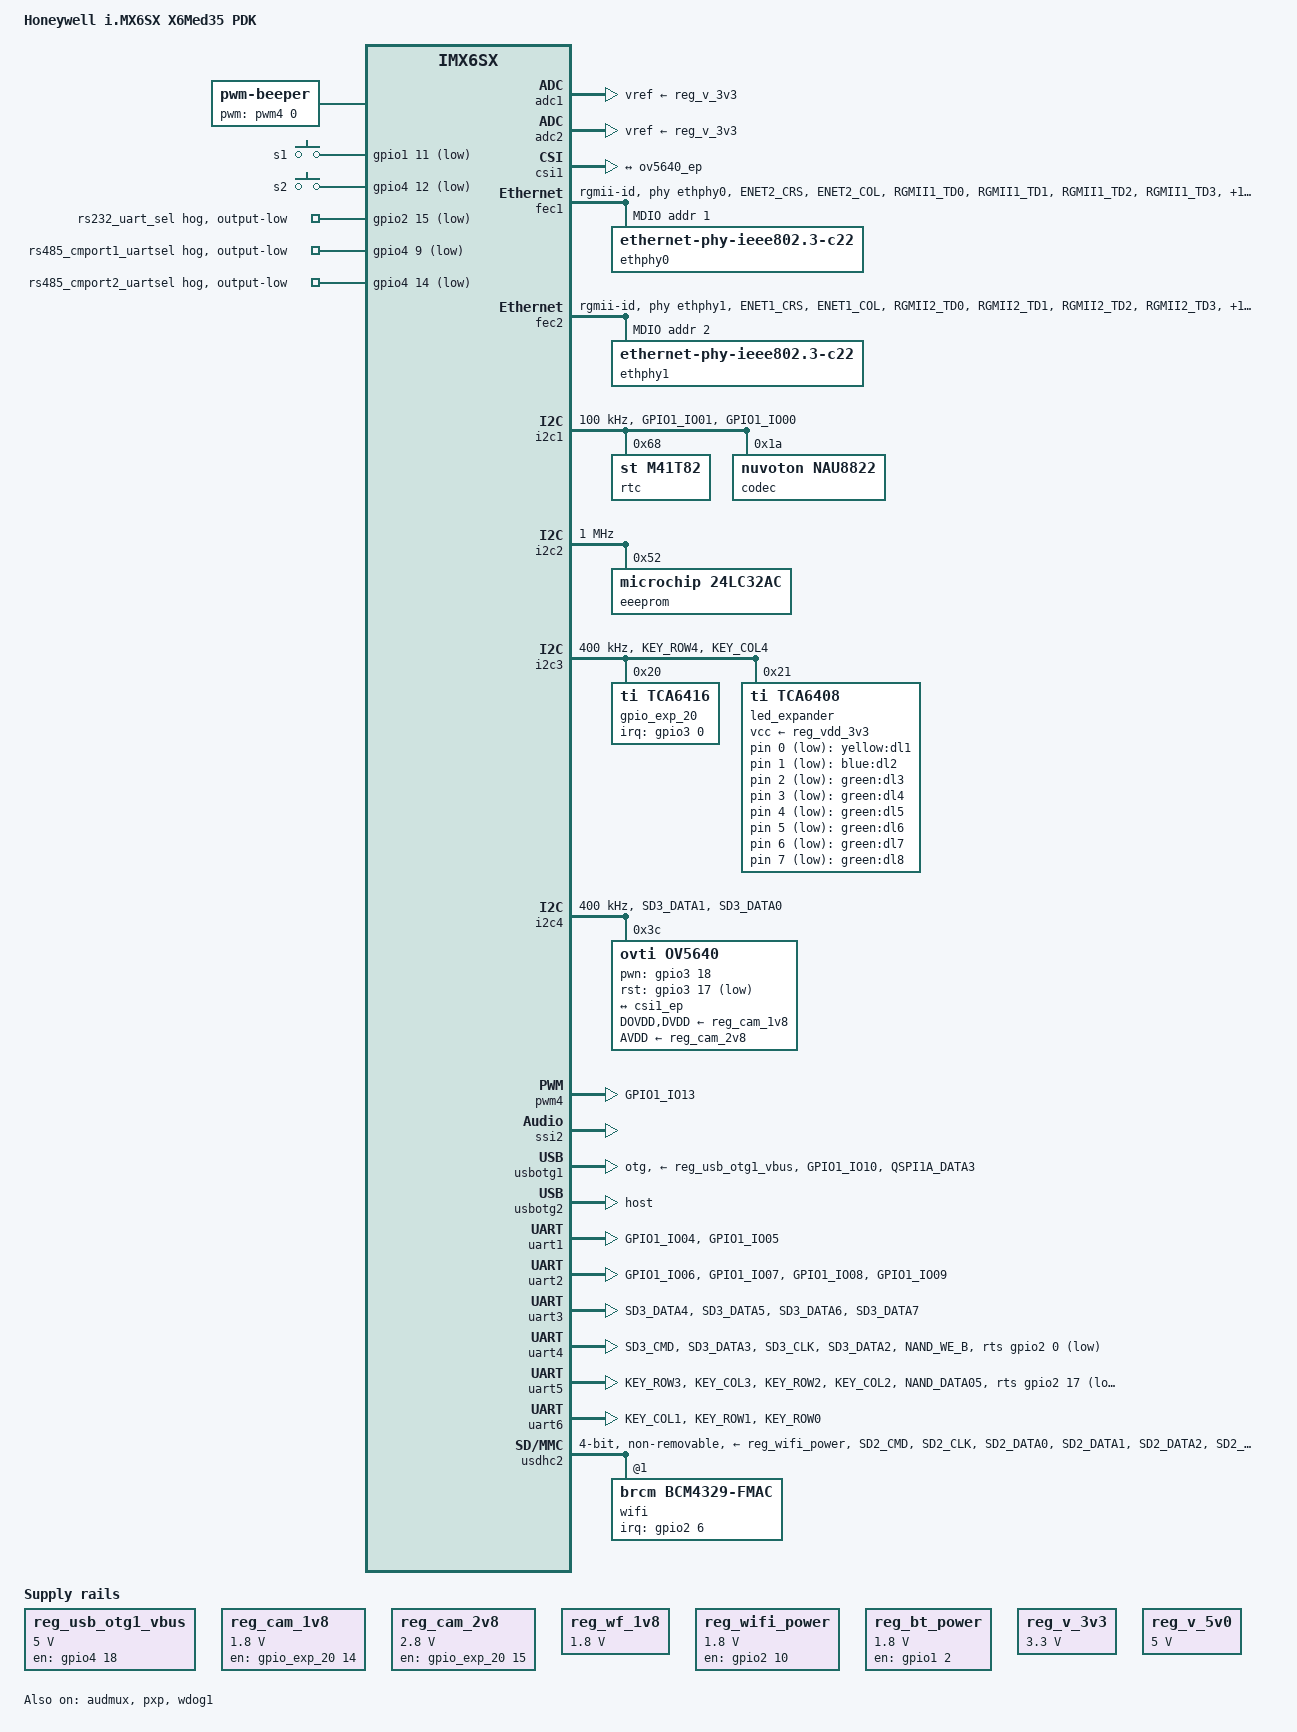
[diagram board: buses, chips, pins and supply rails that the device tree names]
// SPDX-License-Identifier: (GPL-2.0 OR MIT)
/*
 * Copyright (C) 2021 Shrirang Bagul <shrirang.bagul@canonical.com>
 */

#include <dt-bindings/gpio/gpio.h>
#include <dt-bindings/leds/common.h>
#include <dt-bindings/input/linux-event-codes.h>
#include <dt-bindings/sound/fsl-imx-audmux.h>
#include "imx6sx-x6med35-som.dtsi"

/ {
	model = "Honeywell i.MX6SX X6Med35 PDK";
	compatible = "Honeywell,x6med35-pdk", "fsl,imx6sx";

	aliases {
		rtc0 = &rtc;
		rtc1 = &snvs_rtc;
		watchdog0 = &rtc;
		watchdog1 = &wdog1;
	};

	beeper {
		compatible = "pwm-beeper";
		pwms = <&pwm4 0 1000000 0>;
	};

	chosen {
		stdout-path = &uart1;
	};

	gpio-keys {
		compatible = "gpio-keys";
		pinctrl-names = "default";
		pinctrl-0 = <&pinctrl_gpiokeys>;

		s1 {
			label = "s1";
			gpios = <&gpio1 11 GPIO_ACTIVE_LOW>;
			linux,code = <KEY_ESC>;
			wakeup-source;
		};

		s2 {
			label = "s2";
			gpios = <&gpio4 12 GPIO_ACTIVE_LOW>;
			linux,code = <KEY_SPACE>;
			wakeup-source;
		};
	};

	leds {
		compatible = "gpio-leds";

		dl1 {
			label = "yellow:dl1";
			gpios = <&led_expander 0 GPIO_ACTIVE_LOW>;
		};

		dl2 {
			label = "blue:dl2";
			gpios = <&led_expander 1 GPIO_ACTIVE_LOW>;
		};

		dl3 {
			label = "green:dl3";
			gpios = <&led_expander 2 GPIO_ACTIVE_LOW>;
		};

		dl4 {
			label = "green:dl4";
			gpios = <&led_expander 3 GPIO_ACTIVE_LOW>;
		};

		dl5 {
			label = "green:dl5";
			gpios = <&led_expander 4 GPIO_ACTIVE_LOW>;
		};

		dl6 {
			label = "green:dl6";
			gpios = <&led_expander 5 GPIO_ACTIVE_LOW>;
		};

		dl7 {
			label = "green:dl7";
			gpios = <&led_expander 6 GPIO_ACTIVE_LOW>;
		};

		dl8 {
			label = "green:dl8";
			gpios = <&led_expander 7 GPIO_ACTIVE_LOW>;
		};
	};

	reg_usb_otg1_vbus: regulator-usb-otg1-vbus {
		compatible = "regulator-fixed";
		pinctrl-0 = <&pinctrl_usb_vbus>;
		pinctrl-names = "default";
		regulator-name = "vbus_usb_pwr_5v";
		regulator-min-microvolt = <5000000>;
		regulator-max-microvolt = <5000000>;
		gpio = <&gpio4 18 GPIO_ACTIVE_HIGH>;
		enable-active-high;
	};

	reg_cam_1v8: regulator-cam-1v8 {
		compatible = "regulator-fixed";
		regulator-name = "cam_1v8";
		regulator-min-microvolt = <1800000>;
		regulator-max-microvolt = <1800000>;
		gpio = <&gpio_exp_20 14 GPIO_ACTIVE_HIGH>;
		enable-active-high;
	};

	reg_cam_2v8: regulator-cam-2v8 {
		compatible = "regulator-fixed";
		regulator-name = "cam_2v8";
		regulator-min-microvolt = <2800000>;
		regulator-max-microvolt = <2800000>;
		gpio = <&gpio_exp_20 15 GPIO_ACTIVE_HIGH>;
		enable-active-high;
	};

	reg_wf_1v8: regulator-wf-1v8 {
		compatible = "regulator-fixed";
		regulator-name = "wifi_io_power";
		regulator-min-microvolt = <1800000>;
		regulator-max-microvolt = <1800000>;
		regulator-always-on;
	};

	reg_wifi_power: regulator-wifi-power {
		compatible = "regulator-fixed";
		regulator-name = "wifi_power";
		regulator-min-microvolt = <1800000>;
		regulator-max-microvolt = <1800000>;
		gpio = <&gpio2 10 GPIO_ACTIVE_HIGH>;
		enable-active-high;
		regulator-always-on;
		startup-delay-us = <10000>;
		off-on-delay-us = <12000>;
	};

	reg_bt_power: regulator-bt-power {
		compatible = "regulator-fixed";
		regulator-name = "bt_power";
		regulator-min-microvolt = <1800000>;
		regulator-max-microvolt = <1800000>;
		gpio = <&gpio1 2 GPIO_ACTIVE_HIGH>;
		enable-active-high;
		regulator-always-on;
		startup-delay-us = <10000>;
		off-on-delay-us = <12000>;
	};

	reg_v_3v3: regulator-v-3v3 {
		compatible = "regulator-fixed";
		regulator-name = "v_3v3";
		regulator-max-microvolt = <3300000>;
		regulator-min-microvolt = <3300000>;
		regulator-always-on;
	};

	reg_v_5v0: regulator-v-5v0 {
		compatible = "regulator-fixed";
		regulator-name = "v_5v0";
		regulator-max-microvolt = <5000000>;
		regulator-min-microvolt = <5000000>;
		regulator-always-on;
	};

	sound {
		compatible = "simple-audio-card";
		simple-audio-card,name = "x6med35-audio";
		simple-audio-card,format = "i2s";
		simple-audio-card,bitclock-master = <&sound_codec>;
		simple-audio-card,frame-master = <&sound_codec>;
		simple-audio-card,widgets =
						"Microphone", "AMIC",
						"Speaker", "Ext Spk";
		simple-audio-card,routing =
						"Ext Spk", "LSPK",
						"Ext Spk", "RSPK",
					    "RMICP", "AMIC",
					    "RMICN", "AMIC",
					    "AMIC", "Mic Bias";

		sound_cpu: simple-audio-card,cpu {
			sound-dai = <&ssi2>;
		};

		sound_codec: simple-audio-card,codec {
			sound-dai = <&codec>;
			clocks = <&clks IMX6SX_CLK_AUDIO>;
		};
	};
};

&adc1 {
	vref-supply = <&reg_v_3v3>;
	status = "okay";
};

&adc2 {
	vref-supply = <&reg_v_3v3>;
	status = "okay";
};

&anatop {
	status = "disabled";
};

&audmux {
	pinctrl-names = "default";
	pinctrl-0 = <&pinctrl_audmux>;
	status = "okay";

	ssi2 {
		fsl,audmux-port = <1>;
		fsl,port-config = <
			(IMX_AUDMUX_V2_PTCR_SYN |
			IMX_AUDMUX_V2_PTCR_TFSDIR |
			IMX_AUDMUX_V2_PTCR_TFSEL(2) |
			IMX_AUDMUX_V2_PTCR_TCLKDIR |
			IMX_AUDMUX_V2_PTCR_TCSEL(2))
			IMX_AUDMUX_V2_PDCR_RXDSEL(2)
		>;
	};

	aud3 {
		fsl,audmux-port = <2>;
		fsl,port-config = <
			IMX_AUDMUX_V2_PTCR_SYN
			IMX_AUDMUX_V2_PDCR_RXDSEL(1)
		>;
	};
};

&csi1 {
	compatible = "fsl,imx6s-csi";
	status = "okay";

	/delete-property/clock-names;
	clock-names = "disp-axi", "csi_mclk", "disp_dcic";

	port {
		csi1_ep: endpoint {
			remote-endpoint = <&ov5640_ep>;
		};
	};
};

&fec1 {
	pinctrl-names = "default";
	pinctrl-0 = <&pinctrl_enet1>;
	phy-mode = "rgmii-id";
	phy-handle = <&ethphy0>;
	phy-reset-gpios = <&gpio2 4 GPIO_ACTIVE_LOW>;
	phy-reset-duration = <20>;
	nvmem-cells = <&eth_mac1>;
	nvmem-cell-names = "mac-address";
	nvmem_macaddr_swap;
	status = "okay";

	mdio {
		#address-cells = <1>;
		#size-cells = <0>;

		ethphy0: ethernet-phy@1 {
			compatible = "ethernet-phy-ieee802.3-c22";
			reg = <1>;
			micrel,led-mode = <0>;
		};
	};
};

&fec2 {
	pinctrl-names = "default";
	pinctrl-0 = <&pinctrl_enet2>;
	phy-mode = "rgmii-id";
	phy-handle = <&ethphy1>;
	phy-reset-gpios = <&gpio2 2 GPIO_ACTIVE_LOW>;
	phy-reset-duration = <20>;
	nvmem-cells = <&eth_mac2>;
	nvmem-cell-names = "mac-address";
	nvmem_macaddr_swap;
	status = "okay";

	mdio {
		#address-cells = <1>;
		#size-cells = <0>;

		ethphy1: ethernet-phy@2 {
			compatible = "ethernet-phy-ieee802.3-c22";
			reg = <2>;
			micrel,led-mode = <0>;
		};
	};
};

&gpio2 {
	rs232_uart_sel {
		gpio-hog;
		gpios = <15 GPIO_ACTIVE_LOW>;
		output-low;
		line-name = "rs232_uart_sel";
	};
};

&gpio4 {
	rs485_cm_port_uart_sel_1 {
		gpio-hog;
		gpios = <9 GPIO_ACTIVE_LOW>;
		output-low;
		line-name = "rs485_cmport1_uartsel";
	};

	rs485_cm_port_uart_sel_2 {
		gpio-hog;
		gpios = <14 GPIO_ACTIVE_LOW>;
		output-low;
		line-name = "rs485_cmport2_uartsel";
	};
};

&i2c1 {
	pinctrl-names = "default";
	pinctrl-0 = <&pinctrl_i2c1>;
	clock-frequency = <100000>;
	status = "okay";

	rtc: rtc@68 {
		compatible = "st,m41t82";
		reg = <0x68>;
	};

	codec: nau8822@1a {
		compatible = "nuvoton,nau8822";
		reg = <0x1a>;
		clocks = <&clks IMX6SX_CLK_AUDIO>;
		#sound-dai-cells = <0>;
	};
};

&i2c2 {
	pinctrl-names = "default";
	pinctrl-0 = <&pinctrl_i2c2>;
	clock-frequency = <1000000>;
	status = "okay";

	eeeprom: eeeprom@52 {
		compatible = "microchip,24lc32ac", "atmel,24c32";
		reg = <0x52>;
		page-size = <32>;
	};
};

&i2c3 {
	pinctrl-names = "default";
	pinctrl-0 = <&pinctrl_i2c3>;
	clock-frequency = <400000>;
	status = "okay";

	gpio_exp_20: gpio@20 {
		compatible = "ti,tca6416";
		reg = <0x20>;
		#gpio-cells = <2>;
		gpio-controller;
		interrupt-controller;
		interrupt-parent = <&gpio3>;
		interrupts = <0 IRQ_TYPE_EDGE_FALLING>;
		gpio-line-names =
			"port1_3v3_pwr_ctl", "port2_3v3_pwr_ctl",
			"common_port1_nrst", "common_port2_nrst",
			"board_id_1", "board_id_2", "board_id_3",
			"board_id_4", "lte_igt", "lte_radio_usb_ctrl",
			"lte_pwr_en", "lte_emergency_off", "lte_uart_dtr",
			"lte_vdd5v_en",	"cam_1v8_en", "cam_2v8_en";
	};

	led_expander: led-controller@21 {
		compatible = "ti,tca6408";
		reg = <0x21>;
		vcc-supply = <&reg_vdd_3v3>;
		gpio-controller;
		#gpio-cells = <2>;
	};
};

&i2c4 {
	pinctrl-names = "default";
	pinctrl-0 = <&pinctrl_i2c4>;
	clock-frequency = <400000>;
	status = "okay";

	ov5640: camera@3c {
		compatible = "ovti,ov5640";
		pinctrl-names = "default";
		pinctrl-0 = <&pinctrl_ov5640>;
		reg = <0x3c>;
		clocks = <&clks IMX6SX_CLK_CSI>;
		clock-names = "csi_mclk";
		DOVDD-supply = <&reg_cam_1v8>; /* 1.8v */
		AVDD-supply = <&reg_cam_2v8>;  /* 2.8v */
		DVDD-supply = <&reg_cam_1v8>;  /* 1.8v */
		pwn-gpios = <&gpio3 18 GPIO_ACTIVE_HIGH>;
		rst-gpios = <&gpio3 17 GPIO_ACTIVE_LOW>;
		csi_id = <0>;
		mclk = <24000000>;
		mclk_source = <0>;
		rotation = <180>;

		port {
			/* Parallel bus endpoint */
			ov5640_ep: endpoint {
				remote-endpoint = <&csi1_ep>;
				bus-width = <8>;
				data-shift = <2>; /* lines 9:2 are used */
				hsync-active = <0>;
				vsync-active = <0>;
				pclk-sample = <1>;
			};
		};
	};
};

&ocotp {
	eth_mac1: mac-address@88 {
		reg = <0x88 6>;
	};

	eth_mac2: mac-address@8c {
		reg = <0x8c 6>;
	};
};

&pwm4 {
	#pwm-cells = <2>;
	pinctrl-names = "default";
	pinctrl-0 = <&pinctrl_pwm4>;
	status = "okay";
};

&pxp {
	status = "okay";
};

&qspi2 {
	pinctrl-names = "default";
	pinctrl-0 = <&pinctrl_qspi2>;
	status = "disabled";

	flash0: w25q128@0 {
		#address-cells = <1>;
		#size-cells = <1>;
		compatible = "winbond,w25q128", "jedec,spi-nor";
		spi-max-frequency = <15625000>;
		spi-rx-bus-width = <4>;
		spi-tx-bus-width = <4>;
		reg = <0>;
	};
};

&snvs_poweroff {
	status = "okay";
};

&ssi2 {
	status = "okay";
};

&usbotg1 {
	vbus-supply = <&reg_usb_otg1_vbus>;

	pinctrl-names = "default";
	pinctrl-0 = <&pinctrl_usb_otg1_id>;
	srp-disable;
	hnp-disable;
	adp-disable;
	dr_mode = "otg";
	status = "okay";
};

&usbotg2 {
	pinctrl-names = "default";
	srp-disable;
	hnp-disable;
	adp-disable;
	dr_mode = "host";
	status = "okay";
};

&usbphy1 {
	fsl,tx-d-cal = <106>;
};

&usbphy2 {
	fsl,tx-d-cal = <106>;
};

/* Cortex-A9 Debug UART */
&uart1 {
	pinctrl-names = "default";
	pinctrl-0 = <&pinctrl_uart1>;
	status = "okay";
};

/* UART For BT */
&uart2 {
	pinctrl-names = "default";
	pinctrl-0 = <&pinctrl_uart2>;
	uart-has-rtscts;
	status = "okay";
};

/* UART For WWAN/Modem */
&uart3 {
	pinctrl-names = "default";
	pinctrl-0 = <&pinctrl_uart3>;
	uart-has-rtscts;
	status = "okay";
};

/* UART For RS-485#P11*/
&uart4 {
	pinctrl-names = "default";
	pinctrl-0 = <&pinctrl_uart4>;
	rts-gpios = <&gpio2 0 GPIO_ACTIVE_LOW>;
	linux,rs485-enabled-at-boot-time;
	rs485-rx-during-tx;
	status = "okay";
};

/* UART For RS-485#P12*/
&uart5 {
	pinctrl-names = "default";
	pinctrl-0 = <&pinctrl_uart5>;
	rts-gpios = <&gpio2 17 GPIO_ACTIVE_LOW>;
	linux,rs485-enabled-at-boot-time;
	rs485-rx-during-tx;
	status = "okay";
};

/* UART For TTL-232#P15/P19*/
&uart6 {
	pinctrl-names = "default";
	pinctrl-0 = <&pinctrl_uart6>;
	status = "okay";
};

/* Wifi SDIO */
&usdhc2 {
	pinctrl-names = "default";
	pinctrl-0 = <&pinctrl_usdhc2>;
	vmmc-supply = <&reg_wifi_power>;
	vqmmc-supply = <&reg_wf_1v8>;
	bus-width = <4>;
	non-removable;
	keep-power-in-suspend;
	enable-sdio-wakeup;
	status = "okay";

	wifi@1 {
		compatible = "brcm,bcm4329-fmac";
		reg = <1>;
		interrupt-parent = <&gpio2>;
		interrupts = <6 IRQ_TYPE_EDGE_FALLING>;
		interrupt-names = "host-wake";
	};
};

&wdog1 {
	pinctrl-names = "default";
	pinctrl-0 = <&pinctrl_wdog>;
	fsl,ext-reset-output;
	status = "okay";
};

&iomuxc {
	imx6x-x6med35-som {
		pinctrl-names = "default";
		pinctrl-0 = <&pinctrl_hog1 &pinctrl_board_id>;

		pinctrl_hog1: hoggrp-1 {
			fsl,pins = <
				MX6SX_PAD_USB_H_DATA__GPIO7_IO_10	0x83030
			>;
		};

		pinctrl_board_id: hoggrp-2 {
			fsl,pins = <
				MX6SX_PAD_LCD1_DATA00__GPIO3_IO_1	0x110b0
				MX6SX_PAD_LCD1_DATA01__GPIO3_IO_2	0x110b0
				MX6SX_PAD_LCD1_DATA02__GPIO3_IO_3	0x110b0
				MX6SX_PAD_LCD1_DATA23__GPIO3_IO_24	0x110b0
			>;
		};

		pinctrl_audmux: audmuxgrp {
			fsl,pins = <
				MX6SX_PAD_LCD1_ENABLE__AUDMUX_AUD3_TXC	0x130b0
				MX6SX_PAD_LCD1_VSYNC__AUDMUX_AUD3_TXFS	0x130b0
				MX6SX_PAD_LCD1_HSYNC__AUDMUX_AUD3_TXD	0x12098
				MX6SX_PAD_LCD1_RESET__AUDMUX_AUD3_RXD	0x130b0
				MX6SX_PAD_ENET1_MDIO__AUDMUX_MCLK	0x13098
			>;
		};

		pinctrl_enet1: enet1grp {
			fsl,pins = <
				MX6SX_PAD_ENET2_CRS__ENET1_MDIO		0xa0b1
				MX6SX_PAD_ENET2_COL__ENET1_MDC		0xa0b1

				MX6SX_PAD_RGMII1_TD0__ENET1_TX_DATA_0	0xa0b1
				MX6SX_PAD_RGMII1_TD1__ENET1_TX_DATA_1	0xa0b1
				MX6SX_PAD_RGMII1_TD2__ENET1_TX_DATA_2	0xa0b1
				MX6SX_PAD_RGMII1_TD3__ENET1_TX_DATA_3	0xa0b1
				MX6SX_PAD_RGMII1_TX_CTL__ENET1_TX_EN	0xa0b1
				MX6SX_PAD_RGMII1_TXC__ENET1_RGMII_TXC	0xa0b9

				MX6SX_PAD_RGMII1_RD0__ENET1_RX_DATA_0	0x3081
				MX6SX_PAD_RGMII1_RD1__ENET1_RX_DATA_1	0x3081
				MX6SX_PAD_RGMII1_RD2__ENET1_RX_DATA_2	0x3081
				MX6SX_PAD_RGMII1_RD3__ENET1_RX_DATA_3	0x3081
				MX6SX_PAD_RGMII1_RXC__ENET1_RX_CLK	0x3081
				MX6SX_PAD_RGMII1_RX_CTL__ENET1_RX_EN	0x3081

				/* phy reset */
				MX6SX_PAD_ENET1_RX_CLK__GPIO2_IO_4		0x10b0
			>;
		};

		pinctrl_rmii_enet1: rmiienet1grp {
			fsl,pins = <
				MX6SX_PAD_ENET2_CRS__ENET1_MDIO		0xa089
				MX6SX_PAD_ENET2_COL__ENET1_MDC		0xa089

				MX6SX_PAD_RGMII1_TD0__ENET1_TX_DATA_0   0xb099
				MX6SX_PAD_RGMII1_TD1__ENET1_TX_DATA_1   0xb099
				MX6SX_PAD_RGMII1_TX_CTL__ENET1_TX_EN	0xb099
				MX6SX_PAD_ENET1_TX_CLK__ENET1_REF_CLK1  0x4000b099

				MX6SX_PAD_RGMII1_RD0__ENET1_RX_DATA_0   0xb099
				MX6SX_PAD_RGMII1_RD1__ENET1_RX_DATA_1   0xb099
				MX6SX_PAD_RGMII1_RX_CTL__ENET1_RX_EN   	0xb099
				MX6SX_PAD_RGMII1_RXC__ENET1_RX_ER 	0xb099

				/* phy reset */
				MX6SX_PAD_ENET1_RX_CLK__GPIO2_IO_4 	0xb099
			>;
		};

		pinctrl_enet2: enet2grp {
			fsl,pins = <
				MX6SX_PAD_ENET1_CRS__ENET2_MDIO		0xa0b1
				MX6SX_PAD_ENET1_COL__ENET2_MDC		0xa0b1

				MX6SX_PAD_RGMII2_TD0__ENET2_TX_DATA_0	0xa0b1
				MX6SX_PAD_RGMII2_TD1__ENET2_TX_DATA_1	0xa0b1
				MX6SX_PAD_RGMII2_TD2__ENET2_TX_DATA_2	0xa0b1
				MX6SX_PAD_RGMII2_TD3__ENET2_TX_DATA_3	0xa0b1
				MX6SX_PAD_RGMII2_TX_CTL__ENET2_TX_EN	0xa0b1
				MX6SX_PAD_RGMII2_TXC__ENET2_RGMII_TXC	0xa0b9

				MX6SX_PAD_RGMII2_RD0__ENET2_RX_DATA_0	0x3081
				MX6SX_PAD_RGMII2_RD1__ENET2_RX_DATA_1	0x3081
				MX6SX_PAD_RGMII2_RD2__ENET2_RX_DATA_2	0x3081
				MX6SX_PAD_RGMII2_RD3__ENET2_RX_DATA_3	0x3081
				MX6SX_PAD_RGMII2_RXC__ENET2_RX_CLK	0x3081
				MX6SX_PAD_RGMII2_RX_CTL__ENET2_RX_EN	0x3081

				/* phy reset */
				MX6SX_PAD_ENET1_MDC__GPIO2_IO_2		0x10b0
			>;
		};

		pinctrl_rmii_enet2: rmiienet2grp {
			fsl,pins = <
				MX6SX_PAD_ENET1_CRS__ENET2_MDIO		0xa089
				MX6SX_PAD_ENET1_COL__ENET2_MDC		0xa089

				MX6SX_PAD_RGMII2_RD0__ENET2_RX_DATA_0	0xb099
				MX6SX_PAD_RGMII2_RD1__ENET2_RX_DATA_1	0xb099
				MX6SX_PAD_RGMII2_RX_CTL__ENET2_RX_EN	0xb099
				MX6SX_PAD_RGMII2_RXC__ENET2_RX_ER	0xb099

				MX6SX_PAD_RGMII2_TD0__ENET2_TX_DATA_0	0xb099
				MX6SX_PAD_RGMII2_TD1__ENET2_TX_DATA_1	0xb099
				MX6SX_PAD_RGMII2_TX_CTL__ENET2_TX_EN	0xb099
				MX6SX_PAD_ENET2_TX_CLK__ENET2_REF_CLK2	0x4000b099

				/* phy reset */
				MX6SX_PAD_ENET1_MDC__GPIO2_IO_2		0xb099
			>;
		};

		pinctrl_flexcan1: flexcan1grp {
			fsl,pins = <
				MX6SX_PAD_QSPI1B_DQS__CAN1_TX		0x1b020
				MX6SX_PAD_QSPI1A_SS1_B__CAN1_RX		0x1b020
			>;
		};

		pinctrl_flexcan2: flexcan2grp {
			fsl,pins = <
				MX6SX_PAD_QSPI1B_SS1_B__CAN2_RX		0x1b020
				MX6SX_PAD_QSPI1A_DQS__CAN2_TX		0x1b020
			>;
		};

		pinctrl_gpiokeys: gpiokeysgrp {
			fsl,pins = <
				MX6SX_PAD_GPIO1_IO11__GPIO1_IO_11		0xf000
				MX6SX_PAD_NAND_RE_B__GPIO4_IO_12		0xf000
			>;
		};

		pinctrl_i2c1: i2c1grp {
			fsl,pins = <
				MX6SX_PAD_GPIO1_IO01__I2C1_SDA		0x4001b8b1
				MX6SX_PAD_GPIO1_IO00__I2C1_SCL		0x4001b8b1
			>;
		};

		pinctrl_i2c3: i2c3grp {
			fsl,pins = <
				MX6SX_PAD_KEY_ROW4__I2C3_SDA		0x4001b8b1
				MX6SX_PAD_KEY_COL4__I2C3_SCL		0x4001b8b1
			>;
		};

		pinctrl_i2c4: i2c4grp {
			fsl,pins = <
				MX6SX_PAD_SD3_DATA1__I2C4_SDA		0x4001b8b1
				MX6SX_PAD_SD3_DATA0__I2C4_SCL		0x4001b8b1
			>;
		};

		pinctrl_mqs: mqsgrp {
			fsl,pins = <
				MX6SX_PAD_SD2_CLK__MQS_RIGHT 0x120b0
				MX6SX_PAD_SD2_CMD__MQS_LEFT  0x120b0
			>;
		};

		pinctrl_ov5640: ov5640grp {
			fsl,pins = <
				MX6SX_PAD_LCD1_DATA07__CSI1_MCLK		0x110b0
				MX6SX_PAD_LCD1_DATA06__CSI1_PIXCLK		0x110b0
				MX6SX_PAD_LCD1_DATA04__CSI1_VSYNC		0x110b0
				MX6SX_PAD_LCD1_DATA05__CSI1_HSYNC		0x110b0
				MX6SX_PAD_LCD1_DATA15__CSI1_DATA_2		0x110b0
				MX6SX_PAD_LCD1_DATA14__CSI1_DATA_3		0x110b0
				MX6SX_PAD_LCD1_DATA13__CSI1_DATA_4		0x110b0
				MX6SX_PAD_LCD1_DATA12__CSI1_DATA_5		0x110b0
				MX6SX_PAD_LCD1_DATA11__CSI1_DATA_6		0x110b0
				MX6SX_PAD_LCD1_DATA10__CSI1_DATA_7		0x110b0
				MX6SX_PAD_LCD1_DATA09__CSI1_DATA_8		0x110b0
				MX6SX_PAD_LCD1_DATA08__CSI1_DATA_9		0x110b0

				MX6SX_PAD_LCD1_DATA16__GPIO3_IO_17		0x80000000
				MX6SX_PAD_LCD1_DATA17__GPIO3_IO_18		0x80000000
			>;
		};

		pinctrl_pwm4: pwm4grp {
			fsl,pins = <
				MX6SX_PAD_GPIO1_IO13__PWM4_OUT 0x110b0
			>;
		};

		pinctrl_qspi2: qspi2grp {
			fsl,pins = <
				MX6SX_PAD_NAND_WP_B__QSPI2_A_DATA_0     0x70f1
				MX6SX_PAD_NAND_READY_B__QSPI2_A_DATA_1  0x70f1
				MX6SX_PAD_NAND_CE0_B__QSPI2_A_DATA_2    0x70f1
				MX6SX_PAD_NAND_CE1_B__QSPI2_A_DATA_3    0x70f1
				MX6SX_PAD_NAND_CLE__QSPI2_A_SCLK        0x70f1
				MX6SX_PAD_NAND_ALE__QSPI2_A_SS0_B       0x70f1
			>;
		};

		pinctrl_vcc_sd3: vccsd3grp {
			fsl,pins = <
				MX6SX_PAD_KEY_COL1__GPIO2_IO_11		0x17059
			>;
		};

		pinctrl_sai1: sai1grp {
			fsl,pins = <
				MX6SX_PAD_CSI_DATA00__SAI1_TX_BCLK	0x130b0
				MX6SX_PAD_CSI_DATA01__SAI1_TX_SYNC	0x130b0
				MX6SX_PAD_CSI_HSYNC__SAI1_TX_DATA_0	0x120b0
				MX6SX_PAD_CSI_VSYNC__SAI1_RX_DATA_0	0x130b0
				MX6SX_PAD_CSI_PIXCLK__AUDMUX_MCLK	0x130b0
			>;
		};

		pinctrl_uart1: uart1grp {
			fsl,pins = <
				MX6SX_PAD_GPIO1_IO04__UART1_DCE_TX	0x1b0b1
				MX6SX_PAD_GPIO1_IO05__UART1_DCE_RX	0x1b0b1
			>;
		};

		pinctrl_uart2: uart2grp {
			fsl,pins = <
				MX6SX_PAD_GPIO1_IO06__UART2_DCE_TX	0x1b0b1
				MX6SX_PAD_GPIO1_IO07__UART2_DCE_RX	0x1b0b1
				MX6SX_PAD_GPIO1_IO08__UART2_RTS_B	0x1b0b1
				MX6SX_PAD_GPIO1_IO09__UART2_CTS_B	0x1b0b1
			>;
		};

		pinctrl_uart3: uart3grp {
			fsl,pins = <
				MX6SX_PAD_SD3_DATA4__UART3_RX	0x1b0b1
				MX6SX_PAD_SD3_DATA5__UART3_TX	0x1b0b1
				MX6SX_PAD_SD3_DATA6__UART3_RTS_B	0x1b0b1
				MX6SX_PAD_SD3_DATA7__UART3_CTS_B	0x1b0b1
			>;
		};

		pinctrl_uart4: uart4grp {
			fsl,pins = <
				MX6SX_PAD_SD3_CMD__UART4_DCE_TX	0x1b0b1
				MX6SX_PAD_SD3_DATA3__UART4_DCE_RX	0x1b0b1
				MX6SX_PAD_SD3_CLK__UART4_DCE_CTS	0x1b0b1
				MX6SX_PAD_SD3_DATA2__UART4_DCE_RTS	0x1b0b1
				/* RS485_CM_PORT_UART_SEL#2 */
				MX6SX_PAD_NAND_WE_B__GPIO4_IO_14	0x0b0b9
			>;
		};

		pinctrl_uart5: uart5grp {
			fsl,pins = <
				MX6SX_PAD_KEY_ROW3__UART5_DCE_RX	0x1b0b1
				MX6SX_PAD_KEY_COL3__UART5_DCE_TX	0x1b0b1
				MX6SX_PAD_KEY_ROW2__UART5_DCE_CTS	0x1b0b1
				MX6SX_PAD_KEY_COL2__UART5_DCE_RTS	0x1b0b1
				/* RS485_CM_PORT_UART_SEL#1 */
				MX6SX_PAD_NAND_DATA05__GPIO4_IO_9	0x0b0b9
			>;
		};

		pinctrl_uart6: uart6grp {
			fsl,pins = <
				MX6SX_PAD_KEY_COL1__UART6_DCE_TX	0x1b0b1
				MX6SX_PAD_KEY_ROW1__UART6_DCE_RX	0x1b0b1
				/* RS232_UART_SEL */
				MX6SX_PAD_KEY_ROW0__GPIO2_IO_15		0x0b0b9
			>;
		};

		pinctrl_usb_cc: usbccgrp {
			fsl,pins = <
				MX6SX_PAD_LCD1_DATA22__GPIO3_IO_23	0x10b0
			>;
		};

		pinctrl_usb_vbus: usbvbusgrp {
			fsl,pins = <
				MX6SX_PAD_QSPI1A_DATA2__GPIO4_IO_18	0x10b0
			>;
		};

		pinctrl_usb_otg1_id: usbotg1idgrp {
			fsl,pins = <
				MX6SX_PAD_GPIO1_IO10__ANATOP_OTG1_ID	0x17059
				MX6SX_PAD_QSPI1A_DATA3__USB_OTG1_OC		0x17059
			>;
		};

		pinctrl_usdhc2: usdhc2grp {
			fsl,pins = <
				MX6SX_PAD_SD2_CMD__USDHC2_CMD		0x17059
				MX6SX_PAD_SD2_CLK__USDHC2_CLK		0x10059
				MX6SX_PAD_SD2_DATA0__USDHC2_DATA0	0x17059
				MX6SX_PAD_SD2_DATA1__USDHC2_DATA1	0x17059
				MX6SX_PAD_SD2_DATA2__USDHC2_DATA2	0x17059
				MX6SX_PAD_SD2_DATA3__USDHC2_DATA3	0x17059
				/* wifi power GPIO */
				MX6SX_PAD_KEY_COL0__GPIO2_IO_10		0x17059
			>;
		};

		pinctrl_wdog: wdoggrp {
			fsl,pins = <
				MX6SX_PAD_GPIO1_IO03__WDOG2_WDOG_B 0x30b0
			>;
		};
	};
};
